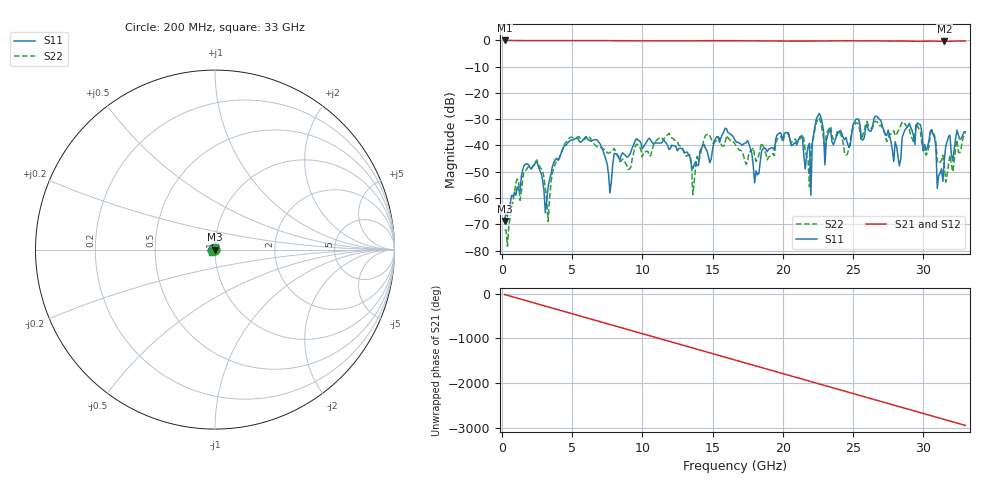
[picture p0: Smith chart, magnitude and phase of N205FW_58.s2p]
# GHZ S RI R 50
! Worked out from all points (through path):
!   329 points, 200 MHz to 33 GHz, reference 50 ohm
!   highest |S21| = -0.02 dB at 200 MHz (marker M1); lowest = -0.4 dB at 31.5 GHz (marker M2)
!   group delay of S21, straight-line fit = 248 ps
!   lowest |S11| = -68.7 dB at 200 MHz (marker M3), VSWR 1.00, Z = 50 + j0.00298 ohm
!   |S11| at or under -10 dB: start of sweep to end of sweep
!   |S22| runs from -78.3 to -29.4 dB; largest |S21 - S12| = 0.0022
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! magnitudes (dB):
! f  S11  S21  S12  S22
! 200 MHz  -68.7  0.0  0.0  -72.2
! 2.5 GHz  -46.4  -0.1  -0.1  -45.5
! 3.1 GHz  -65.6  -0.1  -0.1  -56.3
! 3.3 GHz  -55.7  -0.1  -0.1  -68.9
! 3.9 GHz  -44.9  -0.1  -0.1  -45.7
! 5.7 GHz  -38.4  -0.1  -0.1  -37.7
! 7.7 GHz  -58.1  -0.1  -0.1  -42.6
! 8 GHz  -43.0  -0.1  -0.1  -41.1
! 11.2 GHz  -39.1  -0.2  -0.2  -37.2
! 13.4 GHz  -44.5  -0.2  -0.2  -43.5
! 13.6 GHz  -48.9  -0.2  -0.2  -58.7
! 14.5 GHz  -41.1  -0.1  -0.1  -36.2
! 16.6 GHz  -38.0  -0.1  -0.1  -39.4
! 18 GHz  -54.2  -0.2  -0.2  -43.8
! 21.3 GHz  -36.4  -0.3  -0.3  -37.2
! 21.9 GHz  -39.2  -0.3  -0.3  -55.7
! 22 GHz  -59.0  -0.2  -0.2  -41.7
! 22.1 GHz  -39.4  -0.2  -0.2  -38.4
! 27.6 GHz  -36.2  -0.2  -0.2  -35.8
! 31 GHz  -56.3  -0.3  -0.3  -46.1
! 31.5 GHz  -45.4  -0.4  -0.3  -47.6
! 33 GHz  -34.7  -0.3  -0.3  -35.1
